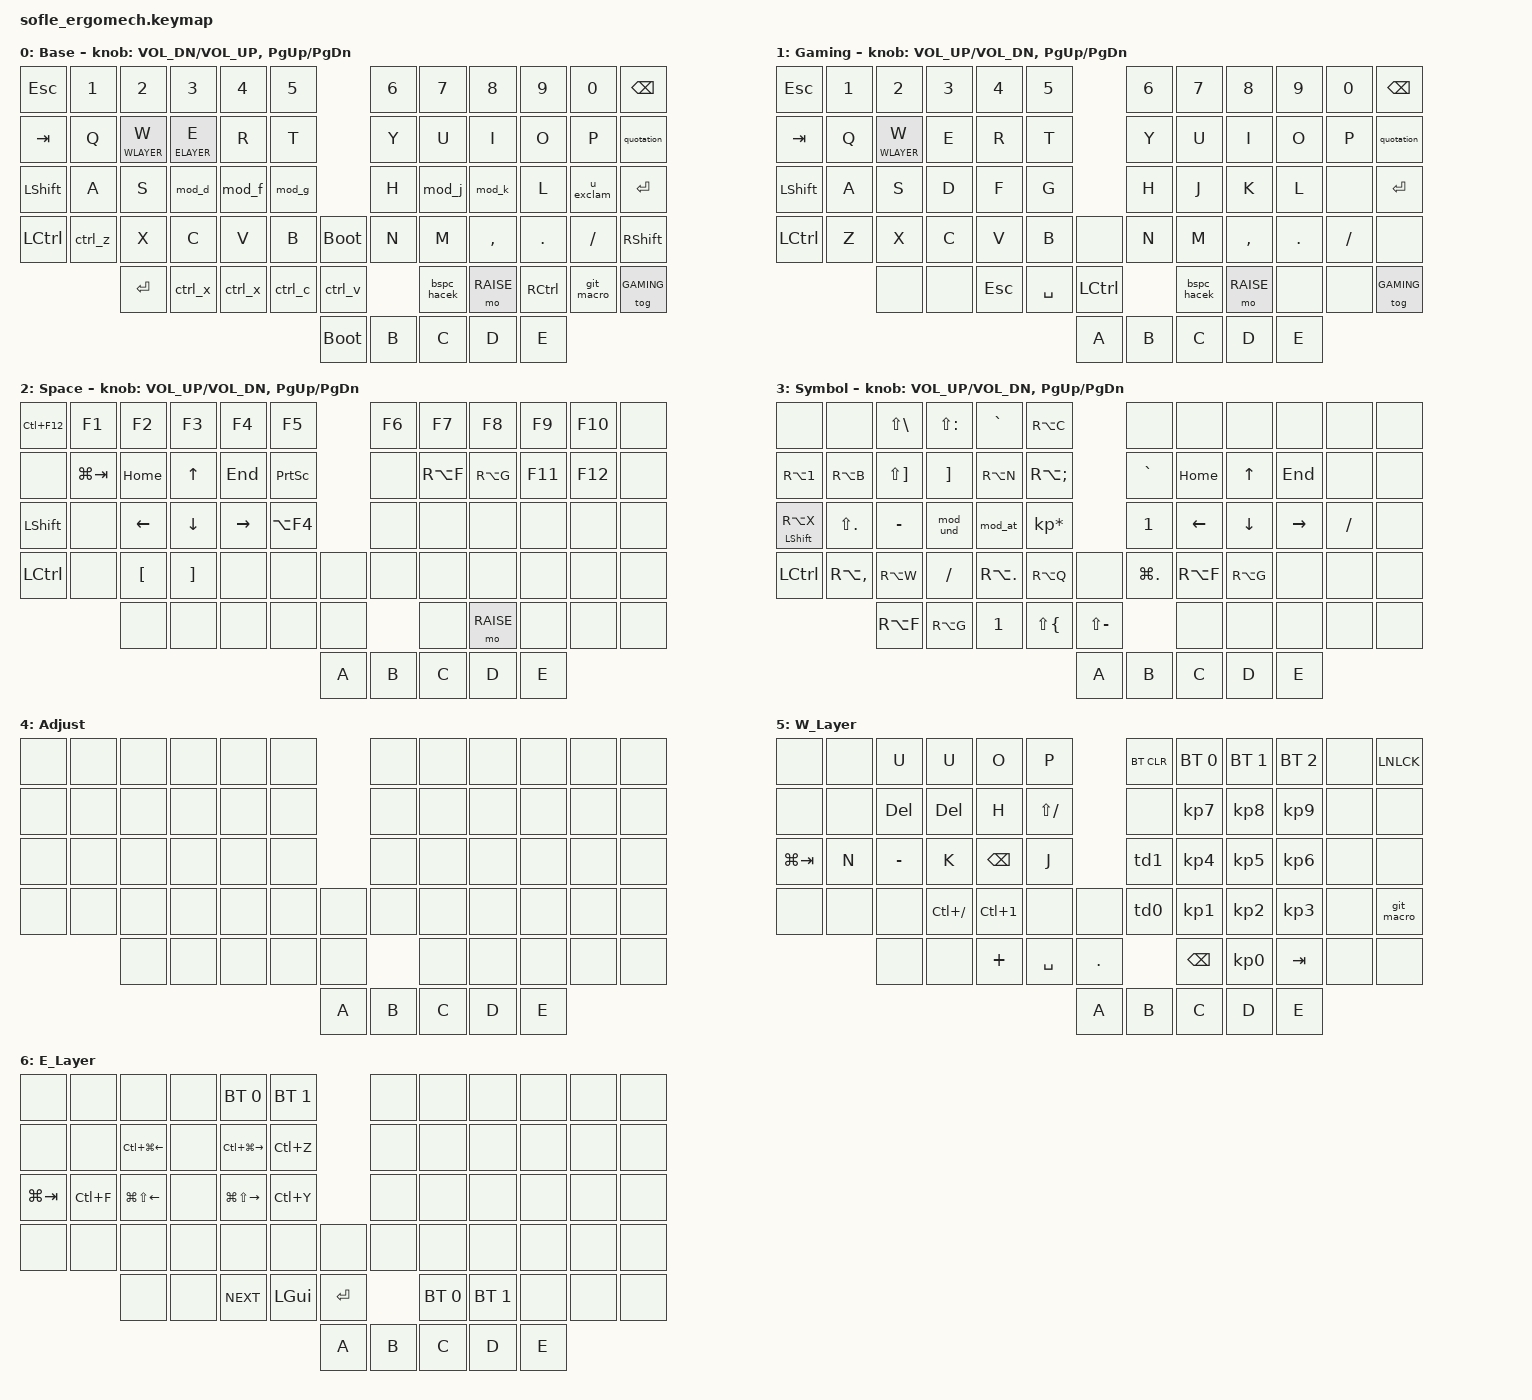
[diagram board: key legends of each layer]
/*
 * Copyright (c) 2020 The ZMK Contributors
 *
 * SPDX-License-Identifier: MIT
 */

#include <behaviors.dtsi>
#include <dt-bindings/zmk/keys.h>
#include <dt-bindings/zmk/bt.h>
#include <dt-bindings/zmk/rgb.h>
#include <dt-bindings/zmk/ext_power.h>

#define BASE 0
#define GAMING 1
#define LOWER 2
#define RAISE 3
#define ADJUST 4
#define WLAYER 5
#define ELAYER 6

&caps_word {
    continue-list = <UNDERSCORE MINUS LS(SLASH) BACKSPACE>;
};

&lt {
    quick-tap-ms = <200>;
    tapping-term-ms = <200>;
};

/ {
    combos {
        compatible = "zmk,combos";
        combo_rename {
            timeout-ms = <50>;
            key-positions = <1 2>;
            bindings = <&kp F2>;
        };

        combo_m {
            timeout-ms = <25>;
            key-positions = <15 16>;
            bindings = <&kp M>;
        };

        combo_o {
            timeout-ms = <50>;
            key-positions = <26 28>;
            bindings = <&kp O>;
        };

        combo_i {
            timeout-ms = <50>;
            key-positions = <26 27 28>;
            bindings = <&kp I>;
        };

        combo_task {
            timeout-ms = <50>;
            key-positions = <5 6>;
            bindings = <&kp LC(LS(ESC))>;
        };
        
        combo_f10 {
            timeout-ms = <50>;
            key-positions = <3 4 5>;
            bindings = <&kp F10>;
        };

        combo_sound {
            timeout-ms = <50>;
            key-positions = <25 29>;
            bindings = <&kp LG(A)>;
        };
        
        combo_lock {
            timeout-ms = <50>;
            key-positions = <10 11>;
            bindings = <&kp LG(L)>;
        };

        combo_ctrl_t {
            timeout-ms = <50>;
            key-positions = <17 53>;
            bindings = <&kp LC(T)>;
        };

        combo_win_e {
            timeout-ms = <50>;
            key-positions = <15 53>;
            bindings = <&kp LG(E)>;
        };

        combo_esc {
            timeout-ms = <50>;
            key-positions = <15 26 28>;
            bindings = <&kp F5>;
            layers = <0 2 3 4 5 6>; 
        };

        combo_we {
            timeout-ms = <50>;
            key-positions = <14 15>;
            bindings = <&kp ESC>;
            layers = <0 2 3 4 5 6>; 
        };

        combo_al {
            timeout-ms = <50>;
            key-positions = <25 33>;
            bindings = <&caps_word>;
        };
    };
};

/ {
    macros {
        git_macro: git_macro {
            compatible = "zmk,behavior-macro";
            #binding-cells = <0>;
            wait-ms = <200>;
            tap-ms = <20>;
            bindings
                = <&macro_tap &kp LGUI>
                ,<&macro_wait_time 20>
                ,<&macro_tap &kp B &kp L &kp E &kp N &kp D &kp E &kp R>
                ,<&macro_tap &kp ENTER>
                ;
        };
    };
};

/ {
    

    behaviors {
        bhm: balanced_homerow_mods {
            compatible = "zmk,behavior-hold-tap";
            #binding-cells = <2>;
            tapping-term-ms = <150>;    // <---[[moderate duration]]
            quick-tap-ms = <200>;
            //require-prior-idle-ms = <125>;
            flavor = "balanced";
            bindings = <&kp>, <&kp>;
            hold-while-undecided;
        };
    };

    behaviors {
        lkp: layer_keypress {
            compatible = "zmk,behavior-hold-tap";
            #binding-cells = <2>;
            tapping-term-ms = <200>;    // <---[[moderate duration]]
            quick-tap-ms = <200>;
            require-prior-idle-ms = <125>;
            flavor = "tap-preferred";
            bindings = <&mo>, <&kp>;
        };
    };
    
    behaviors {
        td0: tap_dance_0 {
            compatible = "zmk,behavior-tap-dance";
            #binding-cells = <0>;
            tapping-term-ms = <300>;
            bindings = <&kp KP_MULTIPLY>, <&kp KP_DIVIDE>;
        };
    };

    behaviors {
        td1: tap_dance_1 {
            compatible = "zmk,behavior-tap-dance";
            #binding-cells = <0>;
            tapping-term-ms = <300>;
            bindings = <&kp KP_MINUS>, <&kp KP_PLUS>;
        };
    };

    behaviors {
        quotation: quotation {
            compatible = "zmk,behavior-mod-morph"; 
            #binding-cells = <0>;
            bindings = <&kp LS(BSLH)>, <&kp SEMI>;
            mods = <(MOD_LSFT|MOD_RSFT)>;
            keep-mods = <(MOD_LSFT)>;
        };
    };

    behaviors {
        bspc_hacek: backspace_hacek {
            compatible = "zmk,behavior-mod-morph";
            #binding-cells = <0>;
            bindings = <&kp BACKSPACE>, <&kp EQUAL>;
            mods = <(MOD_LSFT|MOD_RSFT)>;
            keep-mods = <(MOD_LSFT)>;
        };
    };

    behaviors {
        u_exclam: u_exclam {
            compatible = "zmk,behavior-mod-morph";
            #binding-cells = <0>;
            bindings = <&kp SEMI>, <&kp SQT>;
            mods = <(MOD_LSFT|MOD_RSFT)>;
            keep-mods = <(MOD_LSFT)>;
        };
    };
    
    behaviors {
        ctrl_z: ctrl_z {
            compatible = "zmk,behavior-mod-morph";
            #binding-cells = <0>;
            bindings = <&kp Z>, <&kp Y>;
            mods = <(MOD_LCTL)>;
            keep-mods = <(MOD_LCTL)>;
        };
    }; 

    behaviors {
        ctrl_c: ctrl_c {
            compatible = "zmk,behavior-mod-morph";
            #binding-cells = <0>;
            bindings = <&lkp LOWER SPACE>, <&kp C>;
            mods = <(MOD_LCTL)>;
            keep-mods = <(MOD_LCTL)>;
        };
    };

    behaviors {
        ctrl_v: ctrl_v {
            compatible = "zmk,behavior-mod-morph";
            #binding-cells = <0>;
            bindings = <&bhm LALT ENTER>, <&kp V>;
            mods = <(MOD_LCTL)>;
            keep-mods = <(MOD_LCTL)>;
        };
    };

 behaviors {
        ctrl_x: ctrl_x {
            compatible = "zmk,behavior-mod-morph";
            #binding-cells = <0>;
            bindings = <&kp ESC>, <&kp X>;
            mods = <(MOD_LCTL)>;
            keep-mods = <(MOD_LCTL)>;
        };
    };

 behaviors {
        mod_f: mod_f {
            compatible = "zmk,behavior-mod-morph";
            #binding-cells = <0>;
            bindings = <&bhm LCTL F>, <&kp F>;
            mods = <(MOD_LSFT)>;
            keep-mods = <(MOD_LSFT)>;
        };
    };
    
 behaviors {
        mod_g: mod_g {
            compatible = "zmk,behavior-mod-morph";
            #binding-cells = <0>;
            bindings = <&bhm LC(LS(LALT)) G>, <&kp G>;
            mods = <(MOD_LGUI|MOD_LSFT|MOD_RGUI|MOD_RSFT|MOD_LCTL)>;
            keep-mods = <(MOD_LGUI|MOD_LSFT|MOD_RGUI|MOD_RSFT|MOD_LCTL)>;
        };
    };

 behaviors {
        mod_d: mod_d {
            compatible = "zmk,behavior-mod-morph";
            #binding-cells = <0>;
            bindings = <&bhm LSHFT D>, <&kp D>;
            mods = <(MOD_LSFT)>;
            keep-mods = <(MOD_LSFT)>;
        };
    };

 behaviors {
        mod_j: mod_j {
            compatible = "zmk,behavior-mod-morph";
            #binding-cells = <0>;
            bindings = <&bhm LCTL J>, <&kp J>;
            mods = <(MOD_LSFT)>;
            keep-mods = <(MOD_LSFT)>;
        };
    };

 behaviors {
        mod_k: mod_k {
            compatible = "zmk,behavior-mod-morph";
            #binding-cells = <0>;
            bindings = <&bhm LSHFT K>, <&kp K>;
            mods = <(MOD_LSFT)>;
            keep-mods = <(MOD_LSFT)>;
        };
    };
    
 behaviors {
        mod_at: mod_at {
            compatible = "zmk,behavior-mod-morph";
            #binding-cells = <0>;
            bindings = <&bhm LCTL RA(V)>, <&kp RA(V)>;
            mods = <(MOD_LSFT)>;
            keep-mods = <(MOD_LSFT)>;
        };
    };

 behaviors {
        mod_und: mod_und {
            compatible = "zmk,behavior-mod-morph";
            #binding-cells = <0>;
            bindings = <&bhm LSFT LS(SLASH)>, <&kp LS(SLASH)>;
            mods = <(MOD_LSFT)>;
            keep-mods = <(MOD_LSFT)>;
        };
    };
    
 

   // Activate ADJUST layer by pressing raise and lower
    conditional_layers {
        compatible = "zmk,conditional-layers";
        adjust_layer {
            if-layers = <LOWER RAISE>;
            then-layer = <ADJUST>;
        };
    };

    keymap {
        compatible = "zmk,keymap";

        default_layer {
            display-name = "Base";
            
// ------------------------------------------------------------------------------------------------------------
// |   `   |  1  |  2  |  3   |  4   |  5   |                   |  6   |  7    |  8    |  9   |   0   |       |
// |  ESC  |  Q  |  W  |  E   |  R   |  T   |                   |  Y   |  U    |  I    |  O   |   P   | BKSPC |
// |  TAB  |  A  |  S  |  D   |  F   |  G   |                   |  H   |  J    |  K    |  L   |   ;   |   '   |
// | SHIFT |  Z  |  X  |  C   |  V   |  B   |  MUTE  |  |       |  N   |  M    |  ,    |  .   |   /   | SHIFT |
//               | GUI | ALT  | CTRL | LOWER|  ENTER |  | SPACE | RAISE| CTRL  | ALT   | GUI  |
            bindings = <
&kp ESC   &kp N1       &kp N2       &kp N3         &kp N4       &kp N5                            &kp N6          &kp N7    &kp N8    &kp N9    &kp N0     &kp BACKSPACE
&kp TAB   &kp Q        &lt WLAYER W &lt ELAYER E   &kp R        &kp T                             &kp Y           &kp U     &kp I     &kp O     &kp P      &quotation
&kp LSHFT &kp A        &kp S        &mod_d         &mod_f       &mod_g                            &kp H           &mod_j    &mod_k    &kp L     &u_exclam  &kp ENTER
&kp LCTRL &ctrl_z      &kp X        &kp C          &kp V        &kp B            &bootloader      &kp N           &kp M     &kp COMMA &kp DOT   &kp FSLH   &kp RSHFT
                       &kp RET      &ctrl_x        &ctrl_x      &ctrl_c  &ctrl_v                             &bspc_hacek    &mo RAISE &kp RCTRL &git_macro &tog GAMING
                                                                                     &bootloader &kp B  &kp C &kp D  &kp E
            >;

            sensor-bindings = <&inc_dec_kp C_VOL_DN C_VOL_UP &inc_dec_kp PG_UP PG_DN>;
        };

        gmng_layer {
            display-name = "Gaming";
// ----------------------------------------------------------------------------------------------------------------------------
// |        |         |         |         |         |         |                  |      |      |       |      |       |       |
// |        |         |         |         |         |         |                  |      |      |       |      |       |       |
// |        |         |         |         |         |         |                  |      |      |       |      |       |       |
// |        |         |         |         |         |         |         | |      |      |      |       |      |       |       |
//                    |         |         |         |         |         | |      |      |      |       |      |

            bindings = <
&kp ESC           &kp N1          &kp N2          &kp N3          &kp N4          &kp N5                                            &kp N6          &kp N7          &kp N8          &kp N9          &kp N0          &kp BACKSPACE
&kp TAB           &kp Q           &lt WLAYER W    &kp E           &kp R           &kp T                                             &kp Y           &kp U           &kp I           &kp O           &kp P           &quotation
&kp LSHFT         &kp A           &kp S           &kp D           &kp F           &kp G                                             &kp H           &kp J           &kp K           &kp L           &none           &kp ENTER
&kp LCTL          &kp Z           &kp X           &kp C           &kp V           &kp B            &none                            &kp N           &kp M           &kp COMMA       &kp DOT         &kp FSLH        &none
                                  &none            &none            &kp ESC           &kp SPACE   &kp LCTL         &bspc_hacek      &mo RAISE       &none           &none           &tog GAMING
                                                                                                                    &kp A      &kp B  &kp C &kp D  &kp E
            >;

            sensor-bindings = <&inc_dec_kp C_VOL_UP C_VOL_DN &inc_dec_kp PG_UP PG_DN>;
        };

        lower_layer {
            display-name = "Space";
// ----------------------------------------------------------------------------------------------------------------------------
// |        |         |         |         |         |         |                  |      |      |       |      |       |       |
// |        |         |         |         |         |         |                  |      |      |       |      |       |       |
// |        |         |         |         |         |         |                  |      |      |       |      |       |       |
// |        |         |         |         |         |         |         | |      |      |      |       |      |       |       |
//                    |         |         |         |         |         | |      |      |      |       |      |

            bindings = <
&kp LC(F12)       &kp F1          &kp F2          &kp F3          &kp F4          &kp F5                                            &kp F6          &kp F7          &kp F8          &kp F9          &kp F10         &none
&none             &kp LG(TAB)     &kp HOME        &kp UP          &kp END         &kp PSCRN                                         &none           &kp RA(F)       &kp RA(G)       &kp F11         &kp F12         &none
&kp LSHFT         &none           &kp LEFT        &kp DOWN        &kp RIGHT       &kp LA(F4)                                        &none           &none           &none           &none           &none           &none
&kp LCTL          &none           &kp LBKT        &kp RBKT        &none           &none            &none                            &none           &none           &none           &none           &none           &none
                                  &none           &none           &none           &none            &none           &none            &mo RAISE       &none           &none           &none
                                                                                                                    &kp A      &kp B  &kp C &kp D  &kp E
            >;
            sensor-bindings = <&inc_dec_kp C_VOL_UP C_VOL_DN &inc_dec_kp PG_UP PG_DN>;
        };

        raise_layer {
            display-name = "Symbol";
// ----------------------------------------------------------------------------------------------------------------------------
// |        |         |         |         |         |         |                  |      |      |       |      |       |       |
// |        |         |         |         |         |         |                  |      |      |       |      |       |       |
// |        |         |         |         |         |         |                  |      |      |       |      |       |       |
// |        |         |         |         |         |         |         | |      |      |      |       |      |       |       |
//                    |         |         |         |         |         | |      |      |      |       |      |

            bindings = <
&none              &none           &kp LS(BSLH)    &kp LS(COLON)   &kp GRAVE       &kp RA(C)                                         &none           &none           &none           &none           &none           &none 
&kp RA(N1)         &kp RA(B)       &kp LS(RBKT)    &kp RBKT        &kp RA(N)       &kp RA(SEMI)                                      &kp GRAVE       &kp HOME        &kp UP          &kp END         &none           &none
&bhm LSHFT RA(X)   &kp LS(DOT)     &kp MINUS       &mod_und        &mod_at         &kp KP_MULTIPLY                                   &kp N1          &kp LEFT        &kp DOWN        &kp RIGHT       &kp FSLH        &none
&kp LCTL           &kp RA(COMMA)   &kp RA(W)       &kp FSLH        &kp RA(DOT)     &kp RA(Q)        &none                            &kp LG(DOT)     &kp RA(F)       &kp RA(G)       &none           &none           &none
                                   &kp RA(F)       &kp RA(G)       &kp N1          &kp LS(LBRC)     &kp LS(MINUS)   &none            &none           &none           &none           &none
                                                                                                                    &kp A      &kp B  &kp C &kp D  &kp E
            >;

            sensor-bindings = <&inc_dec_kp C_VOL_UP C_VOL_DN &inc_dec_kp PG_UP PG_DN>;
        };

        adjust_layer {
            display-name = "Adjust";
// ----------------------------------------------------------------------------------------------------------------------------
// |        |         |         |         |         |         |                  |      |      |       |      |       |       |
// |        |         |         |         |         |         |                  |      |      |       |      |       |       |
// |        |         |         |         |         |         |                  |      |      |       |      |       |       |
// |        |         |         |         |         |         |         | |      |      |      |       |      |       |       |
//                    |         |         |         |         |         | |      |      |      |       |      |

            bindings = <
&none             &none           &none           &none           &none           &none                                             &none           &none           &none           &none           &none           &none
&none             &none           &none           &none           &none           &none                                             &none           &none           &none           &none           &none           &none
&none             &none           &none           &none           &none           &none                                             &none           &none           &none           &none           &none           &none
&none             &none           &none           &none           &none           &none            &none                            &none           &none           &none           &none           &none           &none
                                  &none           &none           &none           &none            &none           &none            &none           &none           &none           &none
                                                                                                                    &kp A      &kp B  &kp C &kp D  &kp E
            >;
        };

        w_layer {
            display-name = "W_Layer";
// ----------------------------------------------------------------------------------------------------------------------------
// |        |         |         |         |         |         |                  |      |      |       |      |       |       |
// |        |         |         |         |         |         |                  |      |      |       |      |       |       |
// |        |         |         |         |         |         |                  |      |      |       |      |       |       |
// |        |         |         |         |         |         |         | |      |      |      |       |      |       |       |
//                    |         |         |         |         |         | |      |      |      |       |      |

            bindings = <
&none             &none           &kp U           &kp U           &kp O           &kp P                                             &bt BT_CLR      &bt BT_SEL 0    &bt BT_SEL 1    &bt BT_SEL 2    &none           &kp LNLCK
&none             &none           &kp DEL         &kp DEL         &kp H           &kp LS(SLASH)                                     &none           &kp KP_N7       &kp KP_N8       &kp KP_N9       &none           &none
&kp LG(TAB)       &kp N           &kp MINUS       &kp K           &kp BSPC        &kp J                                             &td1            &kp KP_N4       &kp KP_N5       &kp KP_N6       &none           &none
&none             &none           &none           &kp LC(FSLH)    &kp LC(N1)      &none            &none                            &td0            &kp KP_N1       &kp KP_N2       &kp KP_N3       &none           &git_macro
                                  &none           &none           &kp PLUS        &kp SPACE        &kp DOT         &kp BSPC         &kp KP_N0       &kp TAB         &none           &none
                                                                                                                    &kp A      &kp B  &kp C &kp D  &kp E
            >;
        };
        
        e_layer {
            display-name = "E_Layer";
// ----------------------------------------------------------------------------------------------------------------------------
// |        |         |         |         |         |         |                  |      |      |       |      |       |       |
// |        |         |         |         |         |         |                  |      |      |       |      |       |       |
// |        |         |         |         |         |         |                  |      |      |       |      |       |       |
// |        |         |         |         |         |         |         | |      |      |      |       |      |       |       |
//                    |         |         |         |         |         | |      |      |      |       |      |

            bindings = <
&none             &none           &none            &none            &bt BT_SEL 0      &bt BT_SEL 1                                        &none           &none           &none           &none           &none           &none
&none             &none           &kp LC(LG(LEFT)) &none            &kp LC(LG(RIGHT)) &kp LC(Z)                                           &none           &none           &none           &none           &none           &none
&kp LG(TAB)       &kp LC(F)       &kp LG(LS(LEFT)) &none            &kp LG(LS(RIGHT)) &kp LC(Y)                                           &none           &none           &none           &none           &none           &none
&none             &none           &none            &none            &none             &none             &none                             &none           &none           &none           &none           &none           &none
                                  &none            &none            &kp C_NEXT        &kp LGUI          &kp ENTER        &bt BT_SEL 0     &bt BT_SEL 1    &none           &none           &none
                                                                                                                    &kp A      &kp B  &kp C &kp D  &kp E
            >;
        };

    };
};
